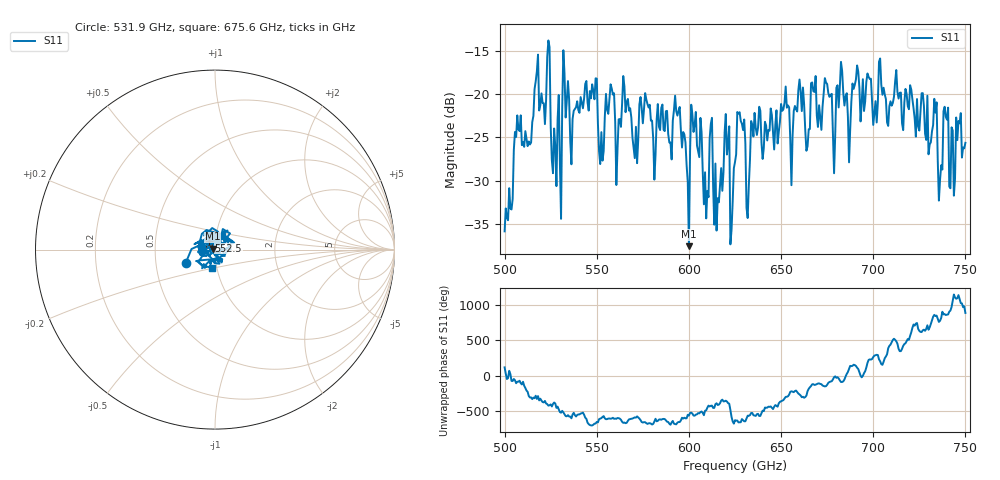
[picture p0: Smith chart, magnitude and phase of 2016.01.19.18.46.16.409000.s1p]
!Created with skrf (http://scikit-rf.org).
# GHz S RI R 50.0
!freq ReS11 ImS11
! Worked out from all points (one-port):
!   401 points, 500 GHz to 750 GHz, reference 50 ohm
!   lowest |S11| = -37.6 dB at 600 GHz (marker M1), VSWR 1.03, Z = 48.8 + j0.473 ohm
!   |S11| at or under -10 dB: start of sweep to end of sweep
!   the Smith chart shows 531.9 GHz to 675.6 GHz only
!   S11 on the Smith chart (normalised r, x): 531.9 GHz: 0.71, -0.11; 552.5 GHz: 0.93, +0.09; 675.6 GHz: 0.95, -0.19
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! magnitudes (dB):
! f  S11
! 500 GHz  -35.9
! 506.2 GHz  -25.0
! 516.9 GHz  -18.5
! 523.8 GHz  -13.8
! 526.9 GHz  -24.0
! 531.2 GHz  -21.6
! 531.9 GHz  -15.0
! 548.8 GHz  -20.6
! 552.5 GHz  -24.4
! 558.1 GHz  -19.4
! 562.5 GHz  -22.9
! 593.8 GHz  -22.5
! 600 GHz  -37.6
! 602.5 GHz  -24.4
! 609.4 GHz  -34.4
! 625 GHz  -27.9
! 627.5 GHz  -22.1
! 631.9 GHz  -34.3
! 635 GHz  -24.9
! 656.2 GHz  -24.8
! 675.6 GHz  -19.9
! 687.5 GHz  -24.1
! 718.8 GHz  -21.4
! 733.1 GHz  -20.6
! 736.2 GHz  -29.9
! 739.4 GHz  -22.6
! 742.5 GHz  -23.8
! 750 GHz  -25.6
